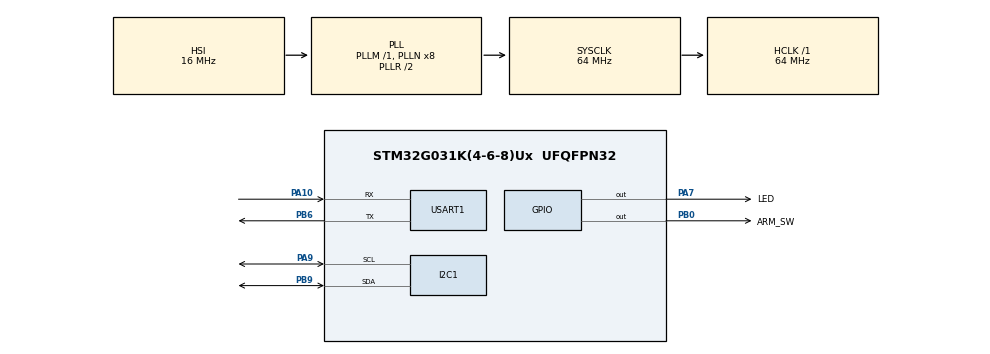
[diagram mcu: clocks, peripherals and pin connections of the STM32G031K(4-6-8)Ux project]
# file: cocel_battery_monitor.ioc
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I2C1.Timing=0x10B17DB5
Mcu.Family=STM32G0
Mcu.Name=STM32G031K(4-6-8)Ux
Mcu.Package=UFQFPN32
NVIC.TIM2_IRQn=true\:0\:0\:false\:false\:true\:true\:true\:true
NVIC.USART1_IRQn=true\:0\:0\:false\:false\:true\:true\:true\:true
PA10\ [PA12].Mode=Asynchronous
PA10\ [PA12].Signal=USART1_RX
PA13.Mode=Serial_Wire
PA13.Signal=SYS_SWDIO
PA14-BOOT0.Mode=Serial_Wire
PA14-BOOT0.Signal=SYS_SWCLK
PA7.GPIO_Label=LED
PA7.Signal=GPIO_Output
PA9\ [PA11].Mode=I2C
PA9\ [PA11].Signal=I2C1_SCL
PB0.GPIO_Label=ARM_SW
PB0.Signal=GPIO_Output
PB6.Mode=Asynchronous
PB6.Signal=USART1_TX
PB9.Mode=I2C
PB9.Signal=I2C1_SDA
ProjectManager.HeapSize=0x200
ProjectManager.StackSize=0x400
ProjectManager.TargetToolchain=STM32CubeIDE
RCC.ADCFreq_Value=64000000
RCC.AHBFreq_Value=64000000
RCC.CortexFreq_Value=64000000
RCC.EXTERNAL_CLOCK_VALUE=12288000
RCC.HCLKFreq_Value=64000000
RCC.HSE_VALUE=8000000
RCC.HSI_VALUE=16000000
RCC.LSE_VALUE=32768
RCC.SYSCLKFreq_VALUE=64000000
RCC.SYSCLKSource=RCC_SYSCLKSOURCE_PLLCLK
RCC.VCOOutputFreq_Value=128000000
TIM2.Period=999
TIM2.Prescaler=6399
USART1.VirtualMode-Asynchronous=VM_ASYNC
VP_SYS_VS_PINREMAP.Mode=PINREMAP
VP_SYS_VS_PINREMAP_10_12.Mode=PINREMAP_10_12
VP_TIM2_VS_ClockSourceINT.Mode=Internal
board=custom

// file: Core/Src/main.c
/* USER CODE BEGIN Header */
/**
  ******************************************************************************
  * @file           : main.c
  * @brief          : Main program body
  ******************************************************************************
  * @attention
  *
  * Copyright (c) 2026 STMicroelectronics.
  * All rights reserved.
  *
  * This software is licensed under terms that can be found in the LICENSE file
  * in the root directory of this software component.
  * If no LICENSE file comes with this software, it is provided AS-IS.
  *
  ******************************************************************************
  */
/**
  ******************************************************************************
		Implemented by Sanghyun Park, Eunseon Choi @ CoCEL, POSTECH, South Korea
		(pash0302@postech.ac.kr, eunseon103@postech.ac.kr)
  ******************************************************************************
  */
/* USER CODE END Header */
#include "main.h"

/* USER CODE BEGIN Includes */
#include <stdio.h>
#include <inttypes.h>
/* USER CODE END Includes */

/* USER CODE BEGIN PD */

/*
============================================================
					  Memory Address
============================================================
*/
#define BQ76942_ADDR  0x10

#define DM_VCELL_MODE       0x9304 // Vcell mode

// CONFIG_UPDATE mode
#define BATT_STATUS_REG     0x12
#define BATT_CFGUPDATE      0x0001

// Protection
#define DM_ENABLED_PROT_A      0x9261
#define DM_ENABLED_PROT_B      0x9262
#define DM_ENABLED_PROT_C      0x9263

// Cell balancing
#define DM_BALANCING_CONFIGURATION   0x9335

// Enable ARM_SW
#define DM_DFETOFF_PIN_CONFIG    0x92FB

// Enable TS1, TS3 thermistor
#define DM_TS1_CONFIG    0x92FD
#define DM_TS3_CONFIG    0x92FFU

#define UART_TX_BUF_SIZE 128U
#define UART_RX_BUF_SIZE 64

/*
============================================================
						Command
============================================================
*/
// CONFIG_UPDATE mode
#define CMD_SET_CFGUPDATE   0x0090
#define CMD_EXIT_CFGUPDATE  0x0092

// FET control
#define CMD_FET_ENABLE            0x0022
#define CMD_MANUFACTURING_STATUS  0x0057
#define CMD_ALL_FETS_ON           0x0096
#define MFG_STATUS_FET_EN_MASK    0x0010

/* USER CODE END PD */

I2C_HandleTypeDef hi2c1;

TIM_HandleTypeDef htim2;

UART_HandleTypeDef huart1;

/* USER CODE BEGIN PV */
typedef struct
{
	uint32_t timestamp;
	uint32_t read_out_time;
	uint16_t cell1;
	uint16_t cell2;
	uint16_t cell3;
	uint16_t cell4;
	uint16_t cell5;
	uint16_t cell6;

	uint16_t stack_voltage_raw;

	int16_t  current_raw;
	int16_t  ext_temp_raw;
} BattRawData;

// for connect timer interrupt <-> while loop
volatile uint8_t TI_SENSOR_RECORD_FLAG = 0;
volatile uint8_t TI_UART_TRANSMIT_FLAG = 0;

volatile BattRawData batt_data;

volatile uint16_t cell1, cell2, cell3, cell4, cell5, cell6;
volatile uint16_t stack_voltage_raw;
volatile int16_t current_raw;
volatile int16_t int_temp_raw;

volatile HAL_StatusTypeDef i2c_status;
volatile uint32_t i2c_error;
volatile HAL_StatusTypeDef bq_ready;

/*
============================================================
				    For UART Interface - START
============================================================
*/
// for system initialization
volatile uint8_t IS_INITIALIZED = 0;
volatile uint8_t CELL_NUM = 4;
volatile uint8_t SET_HZ = 10;
volatile uint8_t TI_HZ_MAX_CNT = 0;
volatile uint8_t TEMP_UNIT = 1; // K, C
// for system operation
volatile uint8_t EX_RECORD_FLAG = 0;
volatile uint8_t ARM_STATUS = 0;

// transmit data format
typedef struct
{
	uint32_t timestamp;
	uint32_t read_out_time;
	int16_t status;
	uint16_t data_1;
	uint16_t data_2;
	uint16_t data_3;
	uint16_t data_4;
	uint16_t data_5;
	uint16_t data_6;
	uint16_t data_7;
	int16_t data_etc_1;
	int16_t data_etc_2;
}UartTransmitData;

// receive data format
typedef struct
{
	int32_t type;
	int32_t data_1;
	int32_t data_2;
	int32_t data_3;
}UartReceiveData;

volatile UartTransmitData data_transmit;
volatile UartReceiveData data_receive;

UartTransmitData data_transmit_for_warning;

// for receive
volatile uint8_t data_receive_ready = 0;
volatile uint8_t uart_parse_error = 0;
static uint8_t uart_rx_byte;
static char uart_build_buffer[UART_RX_BUF_SIZE];
static uint16_t uart_build_index = 0;
static char uart_line_buffer[UART_RX_BUF_SIZE];
static volatile uint8_t uart_line_ready = 0;

/*
============================================================
				    For UART Interface - END
============================================================
*/

/* USER CODE END PV */

void SystemClock_Config(void);
static void MX_GPIO_Init(void);
static void MX_I2C1_Init(void);
static void MX_USART1_UART_Init(void);
static void MX_TIM2_Init(void);
/* USER CODE BEGIN PFP */

// Direct command read functions
HAL_StatusTypeDef BQ_ReadReg(uint8_t reg, uint8_t *data, uint16_t len);
HAL_StatusTypeDef BQ_ReadU8(uint8_t reg, uint8_t *value);
HAL_StatusTypeDef BQ_ReadU16(uint8_t reg, uint16_t *value);
HAL_StatusTypeDef BQ_ReadI16(uint8_t reg, int16_t *value);

// Data Memory read/write functions
HAL_StatusTypeDef BQ_WriteDataMemoryU8(uint16_t addr, uint8_t value);
HAL_StatusTypeDef BQ_ReadDataMemoryU8(uint16_t addr, uint8_t *value);
HAL_StatusTypeDef BQ_WriteDataMemoryU16(uint16_t addr, uint16_t value);
HAL_StatusTypeDef BQ_ReadDataMemoryU16(uint16_t addr, uint16_t *value);

// BQ76942 configuration functions
HAL_StatusTypeDef BQ_SetVcellMode(uint8_t cell_count);
HAL_StatusTypeDef BQ_DisableCellBalancing(void);
HAL_StatusTypeDef BQ_DisableProtections(void);
HAL_StatusTypeDef BQ_EnableFETs(void);
HAL_StatusTypeDef BQ_SetDFETOFFPin(void);
HAL_StatusTypeDef BQ_SetTS1Thermistor(void);
HAL_StatusTypeDef BQ_SetTS3Thermistor(void);

// Subcommand / command helper functions
HAL_StatusTypeDef BQ_ReadSubcommandU16(uint16_t subcmd, uint16_t *value);
HAL_StatusTypeDef BQ_WriteSubcommand(uint16_t subcmd);
uint8_t BQ_Checksum(uint16_t addr, uint8_t *data, uint8_t len);
uint8_t BQ_WaitCfgUpdate(uint8_t enter);
HAL_StatusTypeDef BQ_WaitCfgUpdate(uint8_t enter);

// get data
HAL_StatusTypeDef BQ_ReadBattRawData(BattRawData *data);

// Debug / UART helper functions
void UART_Print(char *msg);
void UART_TransmitParsedData(const UartTransmitData *tx_data);
void clear_tx_data(UartTransmitData *tx_data);
HAL_StatusTypeDef UART_GetReceiveData(UartReceiveData *output);

/* USER CODE END PFP */

/* USER CODE BEGIN 0 */

/* ============================================================
 * Direct Command Read Functions
 * ============================================================ */
// common read
HAL_StatusTypeDef BQ_ReadReg(uint8_t reg, uint8_t *data, uint16_t len)
{
    HAL_StatusTypeDef status;

    if ((data == NULL) || (len == 0U)) return HAL_ERROR;

    status = HAL_I2C_Mem_Read(
        &hi2c1,
        BQ76942_ADDR,
        reg,
        I2C_MEMADD_SIZE_8BIT,
        data,
        len,
        100
    );

    i2c_status = status;
    i2c_error = HAL_I2C_GetError(&hi2c1);

    return status;
}
// read unsigned 8bit
HAL_StatusTypeDef BQ_ReadU8(uint8_t reg, uint8_t *value)
{
    if (value == NULL)return HAL_ERROR;
    return BQ_ReadReg(reg, value, 1);
}
// read unsigned 16bit
HAL_StatusTypeDef BQ_ReadU16(uint8_t reg, uint16_t *value)
{
    uint8_t data[2];
    HAL_StatusTypeDef status;

    if (value == NULL)return HAL_ERROR;

    status = BQ_ReadReg(reg, data, 2);

    if (status != HAL_OK)return status;

    *value = (uint16_t)data[0] | ((uint16_t)data[1] << 8);

    return HAL_OK;
}
// read signed 16bit
HAL_StatusTypeDef BQ_ReadI16(uint8_t reg, int16_t *value)
{
    uint8_t data[2];
    uint16_t raw;
    HAL_StatusTypeDef status;

    if (value == NULL)return HAL_ERROR;

    status = BQ_ReadReg(reg, data, 2);

    if (status != HAL_OK)return status;

    raw = (uint16_t)data[0] | ((uint16_t)data[1] << 8);

    *value = (int16_t)raw;

    return HAL_OK;
}

/* ============================================================
 * Data Memory Read / Write Functions
 * ============================================================ */
HAL_StatusTypeDef BQ_WriteDataMemoryU8(uint16_t addr, uint8_t value)
{
    uint8_t addr_buf[2];
    uint8_t data_buf[1];
    uint8_t chk_len[2];

    HAL_StatusTypeDef status;

    addr_buf[0] = (uint8_t)(addr & 0xFFU);
    addr_buf[1] = (uint8_t)(addr >> 8);

    data_buf[0] = value;

    chk_len[0] = BQ_Checksum(addr, data_buf, 1);
    chk_len[1] = 5U;

    status = HAL_I2C_Mem_Write(
        &hi2c1,
        BQ76942_ADDR,
        0x3E,
        I2C_MEMADD_SIZE_8BIT,
        addr_buf,
        2,
        100
    );

    if (status != HAL_OK) return status;
    HAL_Delay(2);

    status = HAL_I2C_Mem_Write(
        &hi2c1,
        BQ76942_ADDR,
        0x40,
        I2C_MEMADD_SIZE_8BIT,
        data_buf,
        1,
        100
    );

    if (status != HAL_OK) return status;
    HAL_Delay(2);

    status = HAL_I2C_Mem_Write(
        &hi2c1,
        BQ76942_ADDR,
        0x60,
        I2C_MEMADD_SIZE_8BIT,
        chk_len,
        2,
        100
    );

    if (status != HAL_OK) return status;
    HAL_Delay(10);

    return HAL_OK;
}

HAL_StatusTypeDef BQ_ReadDataMemoryU8(uint16_t addr, uint8_t *value)
{
    uint8_t addr_buf[2];

    HAL_StatusTypeDef status;

    if (value == NULL) return HAL_ERROR;

    addr_buf[0] = (uint8_t)(addr & 0xFFU);
    addr_buf[1] = (uint8_t)(addr >> 8);

    status = HAL_I2C_Mem_Write(
        &hi2c1,
        BQ76942_ADDR,
        0x3E,
        I2C_MEMADD_SIZE_8BIT,
        addr_buf,
        2,
        100
    );

    if (status != HAL_OK) return status;
    HAL_Delay(10);

    status = HAL_I2C_Mem_Read(
        &hi2c1,
        BQ76942_ADDR,
        0x40,
        I2C_MEMADD_SIZE_8BIT,
        value,
        1,
        100
    );

    return status;
}

HAL_StatusTypeDef BQ_WriteDataMemoryU16(uint16_t addr, uint16_t value)
{
    uint8_t addr_buf[2];
    uint8_t data_buf[2];
    uint8_t chk_len[2];

    HAL_StatusTypeDef status;

    addr_buf[0] = (uint8_t)(addr & 0xFFU);
    addr_buf[1] = (uint8_t)(addr >> 8);

    data_buf[0] = (uint8_t)(value & 0xFFU);
    data_buf[1] = (uint8_t)(value >> 8);

    chk_len[0] = BQ_Checksum(addr, data_buf, 2);
    chk_len[1] = 6U;

    status = HAL_I2C_Mem_Write(
        &hi2c1,
        BQ76942_ADDR,
        0x3E,
        I2C_MEMADD_SIZE_8BIT,
        addr_buf,
        2,
        100
    );

    if (status != HAL_OK) return status;
    HAL_Delay(2);

    status = HAL_I2C_Mem_Write(
        &hi2c1,
        BQ76942_ADDR,
        0x40,
        I2C_MEMADD_SIZE_8BIT,
        data_buf,
        2,
        100
    );

    if (status != HAL_OK) return status;
    HAL_Delay(2);

    status = HAL_I2C_Mem_Write(
        &hi2c1,
        BQ76942_ADDR,
        0x60,
        I2C_MEMADD_SIZE_8BIT,
        chk_len,
        2,
        100
    );

    if (status != HAL_OK) return status;
    HAL_Delay(10);

    return HAL_OK;
}

HAL_StatusTypeDef BQ_ReadDataMemoryU16(uint16_t addr, uint16_t *value)
{
    uint8_t addr_buf[2];
    uint8_t data_buf[2];

    HAL_StatusTypeDef status;

    if (value == NULL) return HAL_ERROR;

    addr_buf[0] = (uint8_t)(addr & 0xFFU);
    addr_buf[1] = (uint8_t)(addr >> 8);

    status = HAL_I2C_Mem_Write(
        &hi2c1,
        BQ76942_ADDR,
        0x3E,
        I2C_MEMADD_SIZE_8BIT,
        addr_buf,
        2,
        100
    );

    if (status != HAL_OK) return status;
    HAL_Delay(10);

    status = HAL_I2C_Mem_Read(
        &hi2c1,
        BQ76942_ADDR,
        0x40,
        I2C_MEMADD_SIZE_8BIT,
        data_buf,
        2,
        100
    );

    if (status != HAL_OK) return status;

    *value =
        (uint16_t)data_buf[0] |
        ((uint16_t)data_buf[1] << 8);

    return HAL_OK;
}
/* ============================================================
 * BQ76942 Configuration Functions
 * ============================================================ */
HAL_StatusTypeDef BQ_DisableProtections(void)
{
    uint8_t pa = 0U;
    uint8_t pb = 0U;
    uint8_t pc = 0U;

    char buf[120];

    if (BQ_WriteSubcommand(CMD_SET_CFGUPDATE) != HAL_OK)
    {
//    	UART_Print("BQ_WriteSubcommand\r\n");
    	return HAL_ERROR;
    }

    if (BQ_WaitCfgUpdate(1) != HAL_OK)
    {
//        UART_Print("CFGUPDATE enter failed\r\n");
        return HAL_ERROR;
    }

    if (BQ_WriteDataMemoryU8(
            DM_ENABLED_PROT_A,
            0x00) != HAL_OK)
    {
        return HAL_ERROR;
    }

    if (BQ_WriteDataMemoryU8(
            DM_ENABLED_PROT_B,
            0x00) != HAL_OK)
    {
        return HAL_ERROR;
    }

    if (BQ_WriteDataMemoryU8(
            DM_ENABLED_PROT_C,
            0x00) != HAL_OK)
    {
        return HAL_ERROR;
    }

    if (BQ_ReadDataMemoryU8(
            DM_ENABLED_PROT_A,
            &pa) != HAL_OK)
    {
        return HAL_ERROR;
    }

    if (BQ_ReadDataMemoryU8(
            DM_ENABLED_PROT_B,
            &pb) != HAL_OK)
    {
        return HAL_ERROR;
    }

    if (BQ_ReadDataMemoryU8(
            DM_ENABLED_PROT_C,
            &pc) != HAL_OK)
    {
        return HAL_ERROR;
    }

//    snprintf(
//        buf,
//        sizeof(buf),
//        "Protection RB PA=0x%02X PB=0x%02X PC=0x%02X\r\n",
//        pa,
//        pb,
//        pc
//    );
//
//    UART_Print(buf);

    BQ_WriteSubcommand(CMD_EXIT_CFGUPDATE);

    if (BQ_WaitCfgUpdate(0U) != HAL_OK)
    {
//        UART_Print("CFGUPDATE exit failed\r\n");
        return HAL_ERROR;
    }

    return HAL_OK;
}

// Vcell Mode setting
HAL_StatusTypeDef BQ_SetVcellMode(uint8_t cell_count)
{
	uint16_t mode;
	uint16_t rb = 0U;
	char buf[120];

	if (cell_count == 4U)
	{
		mode = 0x000F; // Cell1~Cell4 enabled
	}
	else if (cell_count == 6U)
	{
		mode = 0x030F; // Cell1~4,Cell9~10 // mode = 0x003F; // Cell1~Cell6 enabled
	}
	else
	{
		return HAL_ERROR;
	}

	if (BQ_WriteSubcommand(CMD_SET_CFGUPDATE) != HAL_OK)
	{
		return HAL_ERROR;
	}

	if (BQ_WaitCfgUpdate(1U) != HAL_OK)
	{
//		UART_Print("CFGUPDATE enter failed\r\n");
		return HAL_ERROR;
	}

	if (BQ_WriteDataMemoryU16(
			DM_VCELL_MODE,
			mode) != HAL_OK)
	{
		return HAL_ERROR;
	}

	if (BQ_ReadDataMemoryU16(
			DM_VCELL_MODE,
			&rb) != HAL_OK)
	{
		return HAL_ERROR;
	}

	if (rb != mode)
	{
//		UART_Print("VcellMode verify failed\r\n");
		return HAL_ERROR;
	}

//	snprintf(
//		buf,
//		sizeof(buf),
//		"VcellMode set=0x%04X readback=0x%04X\r\n",
//		mode,
//		rb
//	);
//
//	UART_Print(buf);

	if (BQ_WriteSubcommand(CMD_EXIT_CFGUPDATE) != HAL_OK)
	{
		return HAL_ERROR;
	}

	if (BQ_WaitCfgUpdate(0U) != HAL_OK)
	{
//		UART_Print("CFGUPDATE exit failed\r\n");
		return HAL_ERROR;
	}

	return HAL_OK;
}

// disable cell balanceing
HAL_StatusTypeDef BQ_DisableCellBalancing(void)
{
    uint8_t rb = 0U;

    if(BQ_WriteSubcommand(CMD_SET_CFGUPDATE)!=HAL_OK)
    {
//    	UART_Print("BQ_DisableCellBalancing-0 Error\r\n");
        return HAL_ERROR;
    }

    if (BQ_WaitCfgUpdate(1)!= HAL_OK)
    {
//    	UART_Print("BQ_DisableCellBalancing-1 Error\r\n");
        return HAL_ERROR;
    }

    if (BQ_WriteDataMemoryU8(
            DM_BALANCING_CONFIGURATION,
            0x10) != HAL_OK)
    {
//    	UART_Print("BQ_DisableCellBalancing-2 Error\r\n");
        return HAL_ERROR;
    }

    if (BQ_ReadDataMemoryU8(
            DM_BALANCING_CONFIGURATION,
            &rb) != HAL_OK)
    {
//    	UART_Print("BQ_DisableCellBalancing-3 Error\r\n");
        return HAL_ERROR;
    }

    if (rb != 0x10U)
    {
//    	UART_Print("BQ_DisableCellBalancing-4 Error\r\n");
        return HAL_ERROR;
    }

    BQ_WriteSubcommand(CMD_EXIT_CFGUPDATE);

    if (BQ_WaitCfgUpdate(0)!= HAL_OK)
    {
//    	UART_Print("BQ_DisableCellBalancing-5 Error\r\n");
        return HAL_ERROR;
    }

    return HAL_OK;
}

// Enable DFETOFF pin(ARM SW)
HAL_StatusTypeDef BQ_SetDFETOFFPin(void)
{
    uint8_t rb = 0U;

    /* Enter CONFIG_UPDATE */
    if (BQ_WriteSubcommand(CMD_SET_CFGUPDATE) != HAL_OK)
    {
        return HAL_ERROR;
    }

    if (BQ_WaitCfgUpdate(1U) != HAL_OK)
    {
        return HAL_ERROR;
    }

    /* DFETOFF function, active-low */
    if (BQ_WriteDataMemoryU8(
            DM_DFETOFF_PIN_CONFIG,
            0x82U) != HAL_OK)
    {
        return HAL_ERROR;
    }

    /* Readback */
    if (BQ_ReadDataMemoryU8(
            DM_DFETOFF_PIN_CONFIG,
            &rb) != HAL_OK)
    {
        return HAL_ERROR;
    }
    else
    {
//        char bufd[64];
//
//        sprintf(bufd,
//                 "DFETOFF Config = 0x%02X\r\n",
//                 rb);

//        UART_Print(bufd);
    }

    if (rb != 0x82U)
    {
        return HAL_ERROR;
    }

    /* Exit CONFIG_UPDATE */
    if (BQ_WriteSubcommand(CMD_EXIT_CFGUPDATE) != HAL_OK)
    {
        return HAL_ERROR;
    }

    if (BQ_WaitCfgUpdate(0U) != HAL_OK)
    {
        return HAL_ERROR;
    }

    return HAL_OK;
}

// Enable FET
HAL_StatusTypeDef BQ_EnableFETs(void)
{
    uint16_t mfg_status = 0U;

    if (BQ_ReadSubcommandU16(CMD_MANUFACTURING_STATUS, &mfg_status) != HAL_OK) return HAL_ERROR;

    if ((mfg_status & MFG_STATUS_FET_EN_MASK) == 0U)
    {
    	if(BQ_WriteSubcommand(CMD_FET_ENABLE) != HAL_OK) return HAL_ERROR;
        HAL_Delay(2);
        if (BQ_ReadSubcommandU16(CMD_MANUFACTURING_STATUS, &mfg_status) != HAL_OK) return HAL_ERROR;
        if ((mfg_status & MFG_STATUS_FET_EN_MASK) == 0U) return HAL_ERROR;

    }

    if(BQ_WriteSubcommand(CMD_ALL_FETS_ON) != HAL_OK) return HAL_ERROR;
    HAL_Delay(10);

    return HAL_OK;
}

// Enable externer thermistor
HAL_StatusTypeDef BQ_SetTS1Thermistor(void)
{
    uint8_t rb = 0U;
    HAL_StatusTypeDef status;

    /* Enter CONFIG_UPDATE */
    status = BQ_WriteSubcommand(CMD_SET_CFGUPDATE);

    if (status != HAL_OK)
    {
        return status;
    }

    status = BQ_WaitCfgUpdate(1U);

    if (status != HAL_OK)
    {
        return status;
    }

    /*
     * TS1 Config = 0x0B
     *
     * Internal pull-up : 18 kOhm
     * Temperature model: 18K model
     * Measurement type : Temperature report only
     * Pin function      : Thermistor
     */
    status = BQ_WriteDataMemoryU8(
        DM_TS1_CONFIG,
        0x0BU
    );

    if (status != HAL_OK)
    {
        return status;
    }

    /* Readback */
    status = BQ_ReadDataMemoryU8(
        DM_TS1_CONFIG,
        &rb
    );

    if (status != HAL_OK)
    {
        return status;
    }

    if (rb != 0x0BU)
    {
        return HAL_ERROR;
    }

    /* Exit CONFIG_UPDATE */
    status = BQ_WriteSubcommand(CMD_EXIT_CFGUPDATE);

    if (status != HAL_OK)
    {
        return status;
    }

    status = BQ_WaitCfgUpdate(0U);

    if (status != HAL_OK)
    {
        return status;
    }

    return HAL_OK;
}
HAL_StatusTypeDef BQ_SetTS3Thermistor(void)
{
    uint8_t rb = 0U;

    if (BQ_WriteSubcommand(CMD_SET_CFGUPDATE) != HAL_OK)
    {
        return HAL_ERROR;
    }

    if (BQ_WaitCfgUpdate(1U) != HAL_OK)
    {
        return HAL_ERROR;
    }

    /* 10k NTC, internal 18k pull-up, temperature report */
    if (BQ_WriteDataMemoryU8(
            DM_TS3_CONFIG,
            0x0BU) != HAL_OK)
    {
        return HAL_ERROR;
    }

    if (BQ_ReadDataMemoryU8(
            DM_TS3_CONFIG,
            &rb) != HAL_OK)
    {
        return HAL_ERROR;
    }

    if (rb != 0x0BU)
    {
        return HAL_ERROR;
    }

    if (BQ_WriteSubcommand(CMD_EXIT_CFGUPDATE) != HAL_OK)
    {
        return HAL_ERROR;
    }

    if (BQ_WaitCfgUpdate(0U) != HAL_OK)
    {
        return HAL_ERROR;
    }

    return HAL_OK;
}
/* ============================================================
 * Subcommand / Command Helper Functions
 * ============================================================ */
HAL_StatusTypeDef BQ_ReadSubcommandU16(uint16_t subcmd, uint16_t *value)
{
    uint8_t cmd[2];
    uint8_t data[2];

    if (value == NULL) return HAL_ERROR;

    cmd[0] = (uint8_t)(subcmd & 0xFFU);
    cmd[1] = (uint8_t)((subcmd >> 8) & 0xFFU);

    if (HAL_I2C_Mem_Write(
            &hi2c1,
            BQ76942_ADDR,
            0x3E,
            I2C_MEMADD_SIZE_8BIT,
            cmd,
            2,
            100) != HAL_OK)
    {
        return HAL_ERROR;
    }

    HAL_Delay(2);

    if (HAL_I2C_Mem_Read(
            &hi2c1,
            BQ76942_ADDR,
            0x40,
            I2C_MEMADD_SIZE_8BIT,
            data,
            2,
            100) != HAL_OK)
    {
        return HAL_ERROR;
    }

    *value =
        (uint16_t)data[0] |
        ((uint16_t)data[1] << 8);

    return HAL_OK;
}

HAL_StatusTypeDef BQ_WriteSubcommand(uint16_t subcmd)
{
    uint8_t data[2];

    data[0] = (uint8_t)(subcmd & 0xFFU);
    data[1] = (uint8_t)((subcmd >> 8) & 0xFFU);

    return HAL_I2C_Mem_Write(
        &hi2c1,
        BQ76942_ADDR,
        0x3E,
        I2C_MEMADD_SIZE_8BIT,
        data,
        2,
        100
    );
}

uint8_t BQ_Checksum(uint16_t addr, uint8_t *data, uint8_t len)
{
    uint16_t sum = 0;

    sum += (addr & 0xFF);
    sum += (addr >> 8);

    for(uint8_t i=0;i<len;i++)
        sum += data[i];

    return (uint8_t)(0xFF - (sum & 0xFF));
}

// CONFIG_UPDATE Mode - Tech. Ref. Manu. 7.6
HAL_StatusTypeDef BQ_WaitCfgUpdate(uint8_t enter)
{
    uint16_t batt = 0U;

    for (uint8_t i = 0U; i < 50U; i++)
    {
        if (BQ_ReadU16(BATT_STATUS_REG, &batt) != HAL_OK)
        {
//        	UART_Print("BQ_ReadU16 Failed \r\n");
            return HAL_ERROR;
        }

        if (enter != 0U)
        {
            /* CONFIG_UPDATE 진입 확인 */
            if ((batt & BATT_CFGUPDATE) != 0U) return HAL_OK;
        }
        else
        {
            /* CONFIG_UPDATE 종료 확인 */
            if ((batt & BATT_CFGUPDATE) == 0U) return HAL_OK;
        }

        HAL_Delay(20);
    }
//    UART_Print("BQ_WaitCfgUpdate Timeout \r\n");
    return HAL_TIMEOUT;
}

/* ============================================================
 * Debug / UART Helper Functions
 * ============================================================ */
HAL_StatusTypeDef BQ_ReadBattRawData(BattRawData *data)
{
	HAL_StatusTypeDef status;

	if (data == NULL) return HAL_ERROR;

	data->timestamp = HAL_GetTick();

	/*
	 * cell 1: 0x14 => vc1 - vc0
	 * cell 2: 0x16 => vc2 - vc1
	 * cell 3: 0x18 => vc3 - vc2
	 * cell 4: 0x1A => vc4 - vc3
	 * cell 5: 0x1C => vc5 - vc4
	 * cell 6: 0x1E => vc6 - vc5
	 * cell 7: 0x20 => vc7 - vc6
	 * cell 8: 0x22 => vc8 - vc7
	 * cell 9: 0x24 => vc9 - vc8
	 * cell 10: 0x26 => vc10 - vc9
	 */

		status = BQ_ReadU16(0x14, &data->cell1); // cell 1
		if (status != HAL_OK) return status;

		status = BQ_ReadU16(0x16, &data->cell2); // cell 2
		if (status != HAL_OK) return status;

		if(CELL_NUM == 6)
		{
			status = BQ_ReadU16(0x18, &data->cell3); // cell 3
			if (status != HAL_OK) return status;

			status = BQ_ReadU16(0x1A, &data->cell4); // cell 4
			if (status != HAL_OK) return status;

			status = BQ_ReadU16(0x1C, &data->cell5); // cell 5
			if (status != HAL_OK) return status;

			status = BQ_ReadU16(0x26, &data->cell6); // cell 10
			if (status != HAL_OK) return status;
		}
		else
		{
			status = BQ_ReadU16(0x18, &data->cell3); // cell 3
			if (status != HAL_OK) return status;

			status = BQ_ReadU16(0x26, &data->cell4); // cell 10
			if (status != HAL_OK) return status;

			data->cell5 = 0;
			data->cell6 = 0;
		}

	status = BQ_ReadU16(0x34, &data->stack_voltage_raw);
	if (status != HAL_OK) return status;

	status = BQ_ReadI16(0x3A, &data->current_raw);
	if (status != HAL_OK) return status;

	status = BQ_ReadI16(0x70, &data->ext_temp_raw);
	if (status != HAL_OK) return status;

	uint32_t tmp_time = HAL_GetTick();
	data->read_out_time = tmp_time - data->timestamp;

	return HAL_OK;
}

void UART_Print(char *msg)
{
    HAL_UART_Transmit(&huart1, (uint8_t*)msg, strlen(msg), 100);
}
void UART_TransmitParsedData(const UartTransmitData *tx_data)
{
	char buf[UART_TX_BUF_SIZE];
	int len;

	if (tx_data == NULL)return;
	len = snprintf(
	        buf,
	        sizeof(buf),
	        "%lu,%lu,%d,%u,%u,%u,%u,%u,%u,%u,%d,%d\r\n",

	        (unsigned long)tx_data->timestamp,
					(unsigned long)tx_data->read_out_time,

	        tx_data->status,

	        tx_data->data_1,
	        tx_data->data_2,
	        tx_data->data_3,
	        tx_data->data_4,
	        tx_data->data_5,
	        tx_data->data_6,
					tx_data->data_7,

	        tx_data->data_etc_1,
	        tx_data->data_etc_2
	    );

	if ((len > 0) && (len < (int)sizeof(buf)))
	{
			HAL_UART_Transmit(
					&huart1,
					(uint8_t *)buf,
					(uint16_t)len,
					100
			);
	}
}
void clear_tx_data(UartTransmitData *tx_data)
{
	tx_data->timestamp = 0;
	tx_data->read_out_time = 0;
	tx_data->status = 1;
	tx_data->data_1 = 0;
	tx_data->data_2 = 0;
	tx_data->data_3 = 0;
	tx_data->data_4 = 0;
	tx_data->data_5 = 0;
	tx_data->data_6 = 0;
	tx_data->data_7 = 0;
	tx_data->data_etc_1 = 0;
	tx_data->data_etc_2 = 0;
}

HAL_StatusTypeDef UART_GetReceiveData(UartReceiveData *output)
{
    char local_buffer[UART_RX_BUF_SIZE];
    UartReceiveData parsed_data;
    char extra_character;
    int parse_count;

    if (output == NULL)return HAL_ERROR;

    if (uart_line_ready == 0)return HAL_BUSY;

    memcpy(local_buffer,
           uart_line_buffer,
           sizeof(local_buffer));

    uart_line_ready = 0;

    parse_count = sscanf(
        local_buffer,
        " %" SCNd32
        " %" SCNd32
        " %" SCNd32
        " %" SCNd32
        " %c",
        &parsed_data.type,
        &parsed_data.data_1,
        &parsed_data.data_2,
        &parsed_data.data_3,
        &extra_character
    );

    if (parse_count != 4)return HAL_ERROR;

    *output = parsed_data;

    return HAL_OK;
}

// 10Hz
volatile uint32_t ti_hz_cnt = 0;
void HAL_TIM_PeriodElapsedCallback(TIM_HandleTypeDef *htim)
{
	if(htim->Instance == TIM2)
	{
		HAL_StatusTypeDef status;
		status = UART_GetReceiveData(&data_receive);
		if (status == HAL_OK)
		{
			// received data = initialization signal
			if(data_receive.type == 1)
			{
				// if initialized => already initialized, but received data is about initialization
				clear_tx_data(&data_transmit_for_warning);
				data_transmit_for_warning.timestamp = HAL_GetTick();
				data_transmit_for_warning.status = 1;
				if(IS_INITIALIZED == 1)
				{
					data_transmit_for_warning.data_1 = 3;
					data_transmit_for_warning.data_2 = 2;
					data_transmit_for_warning.data_3 = 1;
					TI_UART_TRANSMIT_FLAG = 1;
					return;
				}

				// if not initialized
				int8_t need_retry = 0;
				int32_t user_cell_num = data_receive.data_1;
				int32_t user_logging_hz = data_receive.data_2;
				int32_t user_ther_unit = data_receive.data_3;
				data_transmit_for_warning.data_1 = 3;
				data_transmit_for_warning.data_2 = 2;
				data_transmit_for_warning.data_3 = 2;
					// validate data
				if(user_cell_num != 4 && user_cell_num != 6)
				{
					need_retry = 1;
					data_transmit_for_warning.data_4 = 1;
				}
				if(user_logging_hz > 10 || user_logging_hz <= 0)
				{
					need_retry = 1;
					data_transmit_for_warning.data_5 = 1;
				}
				if(user_ther_unit != 1 && user_ther_unit != 2)
				{
					need_retry = 1;
					data_transmit_for_warning.data_6 = 1;
				}
				if(need_retry == 1)
				{
					UART_TransmitParsedData(&data_transmit_for_warning);
					return;
				}
					// setting
				CELL_NUM = (uint8_t)user_cell_num;
				SET_HZ = (uint8_t)user_logging_hz;
				TI_HZ_MAX_CNT = 10 / SET_HZ;
				TEMP_UNIT = (uint8_t)user_ther_unit;
				IS_INITIALIZED = 1;
			}
			// need to initialize. send type=1
			if(IS_INITIALIZED == 0)
			{
				clear_tx_data(&data_transmit_for_warning);
				data_transmit_for_warning.timestamp = HAL_GetTick();
				data_transmit_for_warning.status = 1;
				data_transmit_for_warning.data_1 = 3;
				data_transmit_for_warning.data_2 = 2;
				data_transmit_for_warning.data_3 = 3;
				UART_TransmitParsedData(&data_transmit_for_warning);
				return;
			}
			// system handling
			else if(data_receive.type == 2)
			{
				clear_tx_data(&data_transmit_for_warning);
				data_transmit_for_warning.timestamp = HAL_GetTick();
				data_transmit_for_warning.status = 1;
				data_transmit_for_warning.data_1 = 2;
				data_transmit_for_warning.data_2 = 2;

				// Start / Stop Logging
				if(data_receive.data_1 == 1 && EX_RECORD_FLAG == 0)
				{
					EX_RECORD_FLAG = 1;
					data_transmit_for_warning.data_3 = 1;
					TI_UART_TRANSMIT_FLAG = 1;
				}
				else if(data_receive.data_1 == 2 && EX_RECORD_FLAG == 1)
				{
					EX_RECORD_FLAG = 0;
					data_transmit_for_warning.data_3 = 2;
					TI_UART_TRANSMIT_FLAG = 1;
				}

				// ARM SW Off/On
				if(data_receive.data_2 == 1 && ARM_STATUS == 0)
				{
					HAL_GPIO_WritePin(ARM_SW_GPIO_Port, ARM_SW_Pin, GPIO_PIN_SET);
					ARM_STATUS = 1;
					data_transmit_for_warning.data_4 = 1;
					TI_UART_TRANSMIT_FLAG = 1;
				}
				else if(data_receive.data_2 == 2 && ARM_STATUS == 1)
				{
					HAL_GPIO_WritePin(ARM_SW_GPIO_Port, ARM_SW_Pin, GPIO_PIN_RESET);
					ARM_STATUS = 0;
					data_transmit_for_warning.data_4 = 2;
					TI_UART_TRANSMIT_FLAG = 1;
				}
			}
			// request info
			else if(data_receive.type == 3)
			{
				// TODO
			}
		}

		// invalid uart data format
		else if(status == HAL_ERROR)
		{
			clear_tx_data(&data_transmit_for_warning);
			data_transmit_for_warning.timestamp = HAL_GetTick();
			data_transmit_for_warning.status = 1;
			data_transmit_for_warning.data_1 = 3;
			data_transmit_for_warning.data_2 = 1;
			data_transmit_for_warning.data_3 = 1;
			if(IS_INITIALIZED == 0)UART_TransmitParsedData(&data_transmit_for_warning);
			else if(IS_INITIALIZED == 1)TI_UART_TRANSMIT_FLAG = 1;
		}

		//
		ti_hz_cnt++;
		if(ti_hz_cnt >= TI_HZ_MAX_CNT)
		{
			ti_hz_cnt = 0;
			if(bq_ready == HAL_OK && EX_RECORD_FLAG == 1) TI_SENSOR_RECORD_FLAG = 1;
		}

	}
}

// UART Interrupt
volatile HAL_StatusTypeDef uart_start_status = (HAL_StatusTypeDef)0xFF;
void HAL_UART_RxCpltCallback(UART_HandleTypeDef *huart)
{
	if(huart == &huart1)
	{
		char ch = (char)uart_rx_byte;
		if (ch == '\n')
		{
				if (uart_build_index > 0)
				{
						uart_build_buffer[uart_build_index] = '\0';

						if (uart_line_ready == 0)
						{
								memcpy(uart_line_buffer,
											 uart_build_buffer,
											 uart_build_index + 1);

								uart_line_ready = 1;
						}
				}

				uart_build_index = 0;
		}
		else if (ch != '\r')
		{
				if (uart_build_index < UART_RX_BUF_SIZE - 1)
				{
						uart_build_buffer[uart_build_index++] = ch;
				}
				else
				{
						uart_build_index = 0;
				}
		}

		HAL_UART_Receive_IT(&huart1, &uart_rx_byte, 1);
	}
}

/* USER CODE END 0 */

int main(void)
{

  /* MCU Configuration--------------------------------------------------------*/

  /* Reset of all peripherals, Initializes the Flash interface and the Systick. */
  HAL_Init();

  /* Configure the system clock */
  SystemClock_Config();

  /* Initialize all configured peripherals */
  MX_GPIO_Init();
  MX_I2C1_Init();
  MX_USART1_UART_Init();
  MX_TIM2_Init();
  /* USER CODE BEGIN 2 */
  uart_start_status = HAL_UART_Receive_IT(&huart1, &uart_rx_byte, 1);
  bq_ready = HAL_ERROR;
  HAL_TIM_Base_Start_IT(&htim2); // initialize timer interrupt
  HAL_GPIO_WritePin(ARM_SW_GPIO_Port, ARM_SW_Pin, GPIO_PIN_RESET);
  ARM_STATUS = 0;
  HAL_Delay(300);

  clear_tx_data(&data_transmit);
  data_transmit.status = 1;
  data_transmit.data_1 = 1; // initializating

  // wait for initialize
  while(1)
  {
  	if(IS_INITIALIZED == 1)break;

		data_transmit.timestamp = HAL_GetTick();
		data_transmit.data_2 = 1;
		data_transmit.data_3 = 1;
		UART_TransmitParsedData(&data_transmit);

  	HAL_Delay(1000);
  }

  // Initialize sensor module pre-setting
  data_transmit.timestamp = HAL_GetTick();
  data_transmit.data_2 = 2;
  if(BQ_SetVcellMode(CELL_NUM) != HAL_OK)data_transmit.data_3 = 1; //UART_Print("BQ_SerVcellMode Error\r\n");
  if(BQ_DisableCellBalancing() != HAL_OK)data_transmit.data_4 = 1; // UART_Print("BQ_DisableCellBalancing Error\r\n");
  if(BQ_DisableProtections() != HAL_OK)data_transmit.data_5 = 1; // UART_Print("BQ_DisableProtections Error\r\n");
  if(BQ_SetDFETOFFPin() != HAL_OK)data_transmit.data_6 = 1; //UART_Print("BQ_SetDFETOFFPin Error\r\n");
  if(BQ_SetTS1Thermistor() != HAL_OK)data_transmit.data_7 = 1; //UART_Print("BQ_SetTS1Thermistor Error\r\n");
  if(BQ_EnableFETs() != HAL_OK)data_transmit.data_etc_1 = 1; // UART_Print("BQ_EnableFETs Error\r\n");
  UART_TransmitParsedData(&data_transmit);
  HAL_Delay(100);

  // Initialize sensor module
  clear_tx_data(&data_transmit);
  data_transmit.timestamp = HAL_GetTick();
  data_transmit.data_1 = 1;
  bq_ready = HAL_I2C_IsDeviceReady(&hi2c1, BQ76942_ADDR, 3, 100);
  if(bq_ready != HAL_OK)
  {
  	data_transmit.status = 2;
  	data_transmit.data_2 = 1;
  	UART_TransmitParsedData(&data_transmit);
  	return -1;
  }
  data_transmit.status = 1;
  data_transmit.data_2 = 3;
  data_transmit.data_3 = (uint16_t)CELL_NUM;
  data_transmit.data_4 = (uint16_t)SET_HZ;
  data_transmit.data_5 = (uint16_t)TEMP_UNIT;

  UART_TransmitParsedData(&data_transmit);

  /* USER CODE END 2 */

  /* Infinite loop */
  while (1)
  {

    /* USER CODE BEGIN 3 */
  	if(TI_UART_TRANSMIT_FLAG == 1)
  	{
  		UART_TransmitParsedData(&data_transmit_for_warning);
  		TI_UART_TRANSMIT_FLAG = 0;
  	}

	  if(TI_SENSOR_RECORD_FLAG == 0) continue;
	  TI_SENSOR_RECORD_FLAG = 0;

		//
		clear_tx_data(&data_transmit);

		//
		if(BQ_ReadBattRawData(&batt_data) != HAL_OK)
		{
//			UART_Print("BQ sensor read error\r\n");
			data_transmit.timestamp = batt_data.timestamp;
			data_transmit.status = 1;
			data_transmit.data_1 = 2;
			data_transmit.data_2 = 1;
			data_transmit.data_3 = 1;
			UART_TransmitParsedData(&data_transmit);
			continue;
		}

		uint8_t safety_status = 0U;
		uint8_t fet_status = 0U;

		uint16_t control_status = 0U;
		uint16_t battery_status = 0U;

//		if (BQ_ReadU8(0x03, &safety_status) != HAL_OK)
//		{
//		  UART_Print("Safety Status read error\r\n");
//		  continue;
//		}
//
//
//		if (BQ_ReadU16(0x00, &control_status) != HAL_OK)
//		{
//		  UART_Print("Control Status read error\r\n");
//		  continue;
//		}
//
//
//		if (BQ_ReadU16(0x12, &battery_status) != HAL_OK)
//		{
//		  UART_Print("Battery Status read error\r\n");
//		  continue;
//		}
//
//
//		if (BQ_ReadU8(0x7F, &fet_status) != HAL_OK)
//		{
//		  UART_Print("FET Status read error\r\n");
//		  continue;
//		}

		// normal data
		data_transmit.timestamp = batt_data.timestamp;
		data_transmit.read_out_time = batt_data.read_out_time;
		data_transmit.status = 0;
		data_transmit.data_1 = batt_data.cell1;
		data_transmit.data_2 = batt_data.cell2;
		data_transmit.data_3 = batt_data.cell3;
		data_transmit.data_4 = batt_data.cell4;
		data_transmit.data_5 = batt_data.cell5;
		data_transmit.data_6 = batt_data.cell6;
		data_transmit.data_7 = batt_data.stack_voltage_raw;
		data_transmit.data_etc_1 = -batt_data.current_raw;
		if(TEMP_UNIT == 2)
		{
			data_transmit.data_etc_2 = batt_data.ext_temp_raw - 2731;
		}
		else
		{
			data_transmit.data_etc_2 = batt_data.ext_temp_raw;
		}

		UART_TransmitParsedData(&data_transmit);
		HAL_GPIO_TogglePin(LED_GPIO_Port, LED_Pin);
  }
  /* USER CODE END 3 */
}

void SystemClock_Config(void)
{
  RCC_OscInitTypeDef RCC_OscInitStruct = {0};
  RCC_ClkInitTypeDef RCC_ClkInitStruct = {0};

  /** Configure the main internal regulator output voltage
  */
  HAL_PWREx_ControlVoltageScaling(PWR_REGULATOR_VOLTAGE_SCALE1);

  /** Initializes the RCC Oscillators according to the specified parameters
  * in the RCC_OscInitTypeDef structure.
  */
  RCC_OscInitStruct.OscillatorType = RCC_OSCILLATORTYPE_HSI;
  RCC_OscInitStruct.HSIState = RCC_HSI_ON;
  RCC_OscInitStruct.HSIDiv = RCC_HSI_DIV1;
  RCC_OscInitStruct.HSICalibrationValue = RCC_HSICALIBRATION_DEFAULT;
  RCC_OscInitStruct.PLL.PLLState = RCC_PLL_ON;
  RCC_OscInitStruct.PLL.PLLSource = RCC_PLLSOURCE_HSI;
  RCC_OscInitStruct.PLL.PLLM = RCC_PLLM_DIV1;
  RCC_OscInitStruct.PLL.PLLN = 8;
  RCC_OscInitStruct.PLL.PLLP = RCC_PLLP_DIV2;
  RCC_OscInitStruct.PLL.PLLQ = RCC_PLLQ_DIV2;
  RCC_OscInitStruct.PLL.PLLR = RCC_PLLR_DIV2;
  if (HAL_RCC_OscConfig(&RCC_OscInitStruct) != HAL_OK)
  {
    Error_Handler();
  }

  /** Initializes the CPU, AHB and APB buses clocks
  */
  RCC_ClkInitStruct.ClockType = RCC_CLOCKTYPE_HCLK|RCC_CLOCKTYPE_SYSCLK
                              |RCC_CLOCKTYPE_PCLK1;
  RCC_ClkInitStruct.SYSCLKSource = RCC_SYSCLKSOURCE_PLLCLK;
  RCC_ClkInitStruct.AHBCLKDivider = RCC_SYSCLK_DIV1;
  RCC_ClkInitStruct.APB1CLKDivider = RCC_HCLK_DIV1;

  if (HAL_RCC_ClockConfig(&RCC_ClkInitStruct, FLASH_LATENCY_2) != HAL_OK)
  {
    Error_Handler();
  }
}

static void MX_I2C1_Init(void)
{

  hi2c1.Instance = I2C1;
  hi2c1.Init.Timing = 0x10B17DB5;
  hi2c1.Init.OwnAddress1 = 0;
  hi2c1.Init.AddressingMode = I2C_ADDRESSINGMODE_7BIT;
  hi2c1.Init.DualAddressMode = I2C_DUALADDRESS_DISABLE;
  hi2c1.Init.OwnAddress2 = 0;
  hi2c1.Init.OwnAddress2Masks = I2C_OA2_NOMASK;
  hi2c1.Init.GeneralCallMode = I2C_GENERALCALL_DISABLE;
  hi2c1.Init.NoStretchMode = I2C_NOSTRETCH_DISABLE;
  if (HAL_I2C_Init(&hi2c1) != HAL_OK)
  {
    Error_Handler();
  }

  /** Configure Analogue filter
  */
  if (HAL_I2CEx_ConfigAnalogFilter(&hi2c1, I2C_ANALOGFILTER_ENABLE) != HAL_OK)
  {
    Error_Handler();
  }

  /** Configure Digital filter
  */
  if (HAL_I2CEx_ConfigDigitalFilter(&hi2c1, 0) != HAL_OK)
  {
    Error_Handler();
  }

}

static void MX_TIM2_Init(void)
{

  TIM_ClockConfigTypeDef sClockSourceConfig = {0};
  TIM_MasterConfigTypeDef sMasterConfig = {0};

  htim2.Instance = TIM2;
  htim2.Init.Prescaler = 6399;
  htim2.Init.CounterMode = TIM_COUNTERMODE_UP;
  htim2.Init.Period = 999;
  htim2.Init.ClockDivision = TIM_CLOCKDIVISION_DIV1;
  htim2.Init.AutoReloadPreload = TIM_AUTORELOAD_PRELOAD_DISABLE;
  if (HAL_TIM_Base_Init(&htim2) != HAL_OK)
  {
    Error_Handler();
  }
  sClockSourceConfig.ClockSource = TIM_CLOCKSOURCE_INTERNAL;
  if (HAL_TIM_ConfigClockSource(&htim2, &sClockSourceConfig) != HAL_OK)
  {
    Error_Handler();
  }
  sMasterConfig.MasterOutputTrigger = TIM_TRGO_RESET;
  sMasterConfig.MasterSlaveMode = TIM_MASTERSLAVEMODE_DISABLE;
  if (HAL_TIMEx_MasterConfigSynchronization(&htim2, &sMasterConfig) != HAL_OK)
  {
    Error_Handler();
  }

}

static void MX_USART1_UART_Init(void)
{

  huart1.Instance = USART1;
  huart1.Init.BaudRate = 115200;
  huart1.Init.WordLength = UART_WORDLENGTH_8B;
  huart1.Init.StopBits = UART_STOPBITS_1;
  huart1.Init.Parity = UART_PARITY_NONE;
  huart1.Init.Mode = UART_MODE_TX_RX;
  huart1.Init.HwFlowCtl = UART_HWCONTROL_NONE;
  huart1.Init.OverSampling = UART_OVERSAMPLING_16;
  huart1.Init.OneBitSampling = UART_ONE_BIT_SAMPLE_DISABLE;
  huart1.Init.ClockPrescaler = UART_PRESCALER_DIV1;
  huart1.AdvancedInit.AdvFeatureInit = UART_ADVFEATURE_NO_INIT;
  if (HAL_UART_Init(&huart1) != HAL_OK)
  {
    Error_Handler();
  }
  if (HAL_UARTEx_SetTxFifoThreshold(&huart1, UART_TXFIFO_THRESHOLD_1_8) != HAL_OK)
  {
    Error_Handler();
  }
  if (HAL_UARTEx_SetRxFifoThreshold(&huart1, UART_RXFIFO_THRESHOLD_1_8) != HAL_OK)
  {
    Error_Handler();
  }
  if (HAL_UARTEx_DisableFifoMode(&huart1) != HAL_OK)
  {
    Error_Handler();
  }

}

static void MX_GPIO_Init(void)
{
  GPIO_InitTypeDef GPIO_InitStruct = {0};

  /* GPIO Ports Clock Enable */
  __HAL_RCC_GPIOB_CLK_ENABLE();
  __HAL_RCC_GPIOA_CLK_ENABLE();

  /*Configure GPIO pin Output Level */
  HAL_GPIO_WritePin(LED_GPIO_Port, LED_Pin, GPIO_PIN_RESET);

  /*Configure GPIO pin Output Level */
  HAL_GPIO_WritePin(ARM_SW_GPIO_Port, ARM_SW_Pin, GPIO_PIN_RESET);

  /*Configure GPIO pin : LED_Pin */
  GPIO_InitStruct.Pin = LED_Pin;
  GPIO_InitStruct.Mode = GPIO_MODE_OUTPUT_PP;
  GPIO_InitStruct.Pull = GPIO_NOPULL;
  GPIO_InitStruct.Speed = GPIO_SPEED_FREQ_LOW;
  HAL_GPIO_Init(LED_GPIO_Port, &GPIO_InitStruct);

  /*Configure GPIO pin : ARM_SW_Pin */
  GPIO_InitStruct.Pin = ARM_SW_Pin;
  GPIO_InitStruct.Mode = GPIO_MODE_OUTPUT_PP;
  GPIO_InitStruct.Pull = GPIO_NOPULL;
  GPIO_InitStruct.Speed = GPIO_SPEED_FREQ_LOW;
  HAL_GPIO_Init(ARM_SW_GPIO_Port, &GPIO_InitStruct);

}

void Error_Handler(void)
{
  __disable_irq();
  while (1)
  {
  }
}
